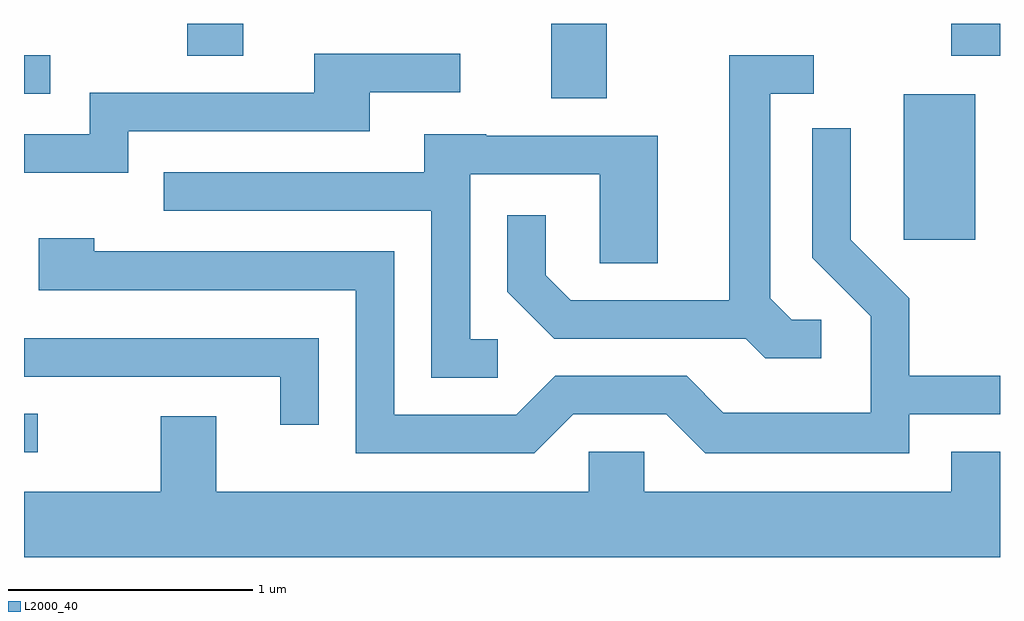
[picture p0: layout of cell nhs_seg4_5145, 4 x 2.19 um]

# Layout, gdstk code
import gdstk
lib = gdstk.Library(unit=1e-6, precision=1e-09)
def R(c, l, rs):  # rectangles x0, y0, x1, y1
    for r in rs: c.add(gdstk.rectangle(r[:2], r[2:], *l))
def P(c, l, *ps):  # polygons
    for p in ps: c.add(gdstk.Polygon(p, *l))
L2000_40 = (2000, 40)

nhs_seg4_5145 = lib.new_cell('nhs_seg4_5145')
R(nhs_seg4_5145, L2000_40, [(335.611,1346.226,335.668,1346.384), (339.216,1347.096,339.509,1347.694), (337.771,1347.676,337.999,1347.982), (335.611,1347.696,335.718,1347.854), (336.281,1347.851,336.509,1347.982), (339.411,1347.851,339.611,1347.982)])
P(nhs_seg4_5145, L2000_40, [(336.039,1347.541),(337.029,1347.541),(337.029,1347.701),(337.398,1347.701),(337.398,1347.859),(336.801,1347.859),(336.801,1347.699),(335.881,1347.699),(335.881,1347.529),(335.611,1347.529),(335.611,1347.371),(336.039,1347.371)],
  [(338.878,1346.769),(338.757,1346.769),(338.669,1346.857),(338.669,1347.696),(338.848,1347.696),(338.848,1347.854),(338.501,1347.854),(338.501,1346.849),(337.852,1346.849),(337.749,1346.952),(337.749,1347.198),(337.591,1347.198),(337.591,1346.884),(337.784,1346.691),(338.569,1346.691),(338.649,1346.611),(338.878,1346.611)],
  [(337.862,1346.381),(338.244,1346.381),(338.404,1346.221),(339.239,1346.221),(339.239,1346.381),(339.611,1346.381),(339.611,1346.539),(339.239,1346.539),(339.239,1346.857),(338.999,1347.097),(338.999,1347.553),(338.841,1347.553),(338.841,1347.024),(339.081,1346.784),(339.081,1346.389),(338.477,1346.389),(338.327,1346.539),(337.789,1346.539),(337.629,1346.379),(337.129,1346.379),(337.129,1347.049),(335.899,1347.049),(335.899,1347.104),(335.671,1347.104),(335.671,1346.891),(336.971,1346.891),(336.971,1346.221),(337.702,1346.221)],
  [(337.553,1346.689),(337.439,1346.689),(337.439,1347.366),(337.971,1347.366),(337.971,1347.001),(338.209,1347.001),(338.209,1347.524),(337.505,1347.524),(337.505,1347.529),(337.251,1347.529),(337.251,1347.374),(336.183,1347.374),(336.183,1347.216),(337.281,1347.216),(337.281,1346.531),(337.553,1346.531)],
  [(336.819,1346.694),(335.611,1346.694),(335.611,1346.536),(336.661,1346.536),(336.661,1346.338),(336.819,1346.338)],
  [(339.611,1346.229),(339.411,1346.229),(339.411,1346.064),(338.154,1346.064),(338.154,1346.229),(337.926,1346.229),(337.926,1346.064),(336.399,1346.064),(336.399,1346.374),(336.171,1346.374),(336.171,1346.064),(335.611,1346.064),(335.611,1345.796),(339.611,1345.796)])

lib.write_gds('nhs_seg4_5145.gds')
